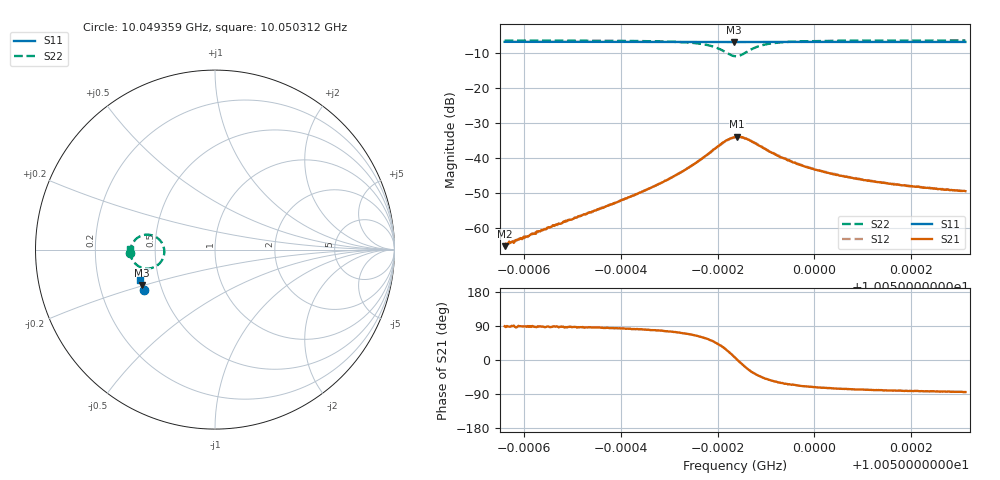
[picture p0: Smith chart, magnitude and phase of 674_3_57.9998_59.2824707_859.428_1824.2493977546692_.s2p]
#  HZ  S  RI  R  50.00
! Rohde & Schwarz Vector Network Analyzer
! Rohde-Schwarz,ZNB20-2Port,1311601062101988,3.16
! Created: UTC 3/21/2024, 1:20:35 AM
! freq[Hz]  re:S11  im:S11  re:S21  im:S21  re:S12  im:S12  re:S22  im:S22
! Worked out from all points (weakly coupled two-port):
!   401 points, 10.049359 GHz to 10.050312 GHz, reference 50 ohm
!   highest |S21| = -33.95 dB at 10.049841 GHz (marker M1); lowest = -65.1 dB at 10.049359 GHz (marker M2)
!   lowest |S11| = -6.9 dB at 10.049834 GHz (marker M3), VSWR 2.64, Z = 19.8 - j9.81 ohm
!   |S11| at or under -10 dB: nowhere
!   |S22| runs from -11.0 to -6.5 dB; largest |S21 - S12| = 0.0016
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1.00493594e10  -0.3937 -0.2264  1.01e-05 0.000556  -3.27e-05 0.000566  -0.4741 -0.0206
1.00494309e10  -0.396 -0.2222  2.84e-05 0.000902  -2.5e-05 0.000911  -0.4737 -0.0127
1.0049519e10  -0.3988 -0.2169  9.34e-05 0.00151  -5.91e-06 0.00153  -0.4721 -0.00115
1.00495905e10  -0.4009 -0.2127  0.000243 0.00231  0.00012 0.00233  -0.4696 0.0111
1.00496787e10  -0.4033 -0.2071  0.000895 0.00418  0.000685 0.00422  -0.4605 0.0335
1.00497287e10  -0.4046 -0.204  0.00218 0.00614  0.00179 0.00625  -0.4454 0.054
1.00497739e10  -0.4057 -0.201  0.00565 0.00895  0.00506 0.00921  -0.408 0.0782
1.00498073e10  -0.4058 -0.1987  0.0126 0.00966  0.0118 0.0103  -0.3415 0.0765
1.00498216e10  -0.4057 -0.198  0.0168 0.00718  0.016 0.00849  -0.3049 0.0503
1.00498335e10  -0.4057 -0.1976  0.0194 0.00319  0.019 0.00462  -0.2848 0.00988
1.00498359e10  -0.4057 -0.1977  0.0197 0.0022  0.0194 0.00378  -0.2832 0.000619
1.00498407e10  -0.4056 -0.1977  0.0201 8.8e-05  0.0199 0.00173  -0.2826 -0.0186
1.00498526e10  -0.4061 -0.1973  0.019 -0.00455  0.0194 -0.00299  -0.2976 -0.0626
1.00498669e10  -0.4067 -0.1971  0.0157 -0.00838  0.0164 -0.00724  -0.3337 -0.0953
1.00498835e10  -0.4076 -0.1963  0.0116 -0.01  0.0124 -0.0093  -0.3757 -0.1058
1.00499002e10  -0.4083 -0.1953  0.00855 -0.0101  0.00922 -0.00945  -0.4063 -0.1012
1.00499264e10  -0.4093 -0.1936  0.00539 -0.00914  0.00614 -0.00888  -0.4353 -0.0859
1.00499526e10  -0.4104 -0.1922  0.00375 -0.00816  0.00438 -0.0079  -0.4505 -0.0714
1.00499955e10  -0.4114 -0.1894  0.00228 -0.00664  0.00272 -0.00654  -0.4627 -0.053
1.00500693e10  -0.4134 -0.1847  0.00123 -0.00518  0.00156 -0.00516  -0.4705 -0.0322
1.00501551e10  -0.4158 -0.1796  0.000717 -0.00422  0.000989 -0.00425  -0.4737 -0.0167
1.00503123e10  -0.4196 -0.1698  0.000318 -0.00335  0.000528 -0.00334  -0.4754 0.00297
